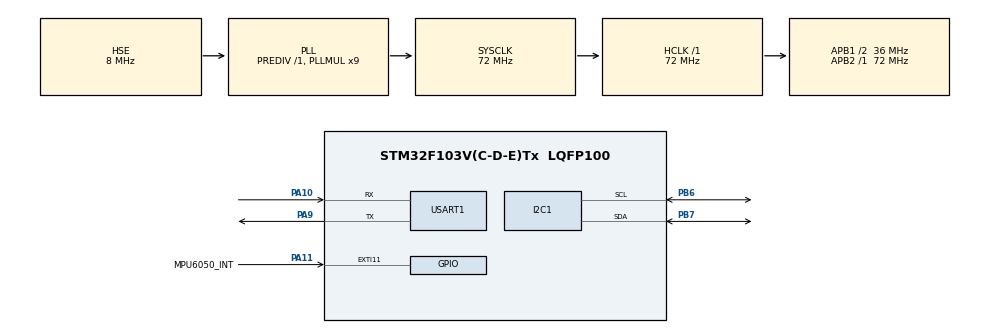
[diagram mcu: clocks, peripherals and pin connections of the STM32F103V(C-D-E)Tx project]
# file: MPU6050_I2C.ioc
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Dma.I2C1_RX.0.Direction=DMA_PERIPH_TO_MEMORY
Dma.I2C1_RX.0.Instance=DMA1_Channel7
Dma.I2C1_RX.0.MemDataAlignment=DMA_MDATAALIGN_BYTE
Dma.I2C1_RX.0.MemInc=DMA_MINC_ENABLE
Dma.I2C1_RX.0.Mode=DMA_NORMAL
Dma.I2C1_RX.0.PeriphDataAlignment=DMA_PDATAALIGN_BYTE
Dma.I2C1_RX.0.PeriphInc=DMA_PINC_DISABLE
Dma.I2C1_RX.0.Priority=DMA_PRIORITY_VERY_HIGH
Dma.I2C1_TX.1.Direction=DMA_MEMORY_TO_PERIPH
Dma.I2C1_TX.1.Instance=DMA1_Channel6
Dma.I2C1_TX.1.MemDataAlignment=DMA_MDATAALIGN_BYTE
Dma.I2C1_TX.1.MemInc=DMA_MINC_ENABLE
Dma.I2C1_TX.1.Mode=DMA_NORMAL
Dma.I2C1_TX.1.PeriphDataAlignment=DMA_PDATAALIGN_BYTE
Dma.I2C1_TX.1.PeriphInc=DMA_PINC_DISABLE
Dma.I2C1_TX.1.Priority=DMA_PRIORITY_VERY_HIGH
Dma.Request0=I2C1_RX
Dma.Request1=I2C1_TX
FREERTOS.Tasks01=defaultTask,24,128,StartDefaultTask,Default,NULL,Dynamic,NULL,NULL
FREERTOS.configUSE_NEWLIB_REENTRANT=1
I2C1.DualAddressMode=I2C_DUALADDRESS_DISABLE
I2C1.GeneralCallMode=I2C_GENERALCALL_DISABLE
I2C1.I2C_Mode=I2C_Fast
I2C1.OwnAddress=0x0A
Mcu.Family=STM32F1
Mcu.Name=STM32F103V(C-D-E)Tx
Mcu.Package=LQFP100
NVIC.DMA1_Channel6_IRQn=true\:5\:0\:false\:false\:true\:true\:false\:true
NVIC.DMA1_Channel7_IRQn=true\:5\:0\:false\:false\:true\:true\:false\:true
NVIC.EXTI15_10_IRQn=true\:5\:0\:false\:false\:true\:true\:true\:true
NVIC.I2C1_ER_IRQn=true\:5\:0\:false\:false\:true\:true\:true\:true
NVIC.I2C1_EV_IRQn=true\:5\:0\:false\:false\:true\:true\:true\:true
NVIC.PriorityGroup=NVIC_PRIORITYGROUP_4
NVIC.TIM7_IRQn=true\:15\:0\:false\:false\:true\:false\:false\:true
NVIC.TimeBase=TIM7_IRQn
NVIC.TimeBaseIP=TIM7
NVIC.USART1_IRQn=true\:5\:0\:false\:false\:true\:true\:true\:true
OSC_IN.Mode=HSE-External-Oscillator
OSC_IN.Signal=RCC_OSC_IN
OSC_OUT.Mode=HSE-External-Oscillator
OSC_OUT.Signal=RCC_OSC_OUT
PA10.Mode=Asynchronous
PA10.Signal=USART1_RX
PA11.GPIO_Label=MPU6050_INT
PA11.GPIO_ModeDefaultEXTI=GPIO_MODE_IT_RISING
PA11.Signal=GPXTI11
PA13.Mode=Serial_Wire
PA13.Signal=SYS_JTMS-SWDIO
PA14.Mode=Serial_Wire
PA14.Signal=SYS_JTCK-SWCLK
PA9.Mode=Asynchronous
PA9.Signal=USART1_TX
PB6.Mode=I2C
PB6.Signal=I2C1_SCL
PB7.Mode=I2C
PB7.Signal=I2C1_SDA
ProjectManager.HeapSize=0x200
ProjectManager.StackSize=0x400
ProjectManager.TargetToolchain=STM32CubeIDE
RCC.AHBFreq_Value=72000000
RCC.APB1CLKDivider=RCC_HCLK_DIV2
RCC.APB1Freq_Value=36000000
RCC.APB1TimFreq_Value=72000000
RCC.APB2Freq_Value=72000000
RCC.APB2TimFreq_Value=72000000
RCC.HCLKFreq_Value=72000000
RCC.PLLMUL=RCC_PLL_MUL9
RCC.PLLSourceVirtual=RCC_PLLSOURCE_HSE
RCC.SYSCLKFreq_VALUE=72000000
RCC.SYSCLKSource=RCC_SYSCLKSOURCE_PLLCLK
RCC.USBFreq_Value=72000000
USART1.VirtualMode=VM_ASYNC
VP_FREERTOS_VS_CMSIS_V2.Mode=CMSIS_V2
VP_SYS_VS_tim7.Mode=TIM7
board=custom

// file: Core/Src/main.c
/* USER CODE BEGIN Header */
/**
 ******************************************************************************
 * @file           : main.c
 * @brief          : Main program body
 ******************************************************************************
 * @attention
 *
 * Copyright (c) 2022 STMicroelectronics.
 * All rights reserved.
 *
 * This software is licensed under terms that can be found in the LICENSE file
 * in the root directory of this software component.
 * If no LICENSE file comes with this software, it is provided AS-IS.
 *
 ******************************************************************************
 */
/* USER CODE END Header */
#include "main.h"
#include "cmsis_os.h"
#include "dma.h"
#include "gpio.h"
#include "i2c.h"
#include "usart.h"

/* USER CODE BEGIN Includes */
//#define PRINT_INSTAND_SWJ
#include "STM32F1_porting.h"
#include "mpu6050_SL.h"

#include "stdio.h"

/* mpu6050 DMP库  begin */
#include "eMPL_outputs.h"
#include "inv_mpu.h"
#include "inv_mpu_dmp_motion_driver.h"
#include "invensense.h"
#include "invensense_adv.h"
#include "log.h"
#include "mltypes.h"
#include "mpu.h"
#include "packet.h"

extern void get_ms_user(unsigned long *count); //定义在inv_mpu.c
#define get_tick_count get_ms_user
/* mpu6050 DMP库  end */

/* USER CODE END Includes */

/* USER CODE BEGIN PD */
/* Data read from MPL. */
#define PRINT_ACCEL (0x01)
#define PRINT_GYRO (0x02)
#define PRINT_QUAT (0x04)
#define PRINT_COMPASS (0x08)
#define PRINT_EULER (0x10)
#define PRINT_ROT_MAT (0x20)
#define PRINT_HEADING (0x40)
#define PRINT_PEDO (0x80)
#define PRINT_LINEAR_ACCEL (0x100)
#define PRINT_GRAVITY_VECTOR (0x200)

volatile uint32_t hal_timestamp = 0;

/* USER CODE END PD */

void SystemClock_Config(void);
void MX_FREERTOS_Init(void);
/* USER CODE BEGIN PFP */
#define BYTE0(dwTemp) (*(char *)(&dwTemp))
#define BYTE1(dwTemp) (*((char *)(&dwTemp) + 1))
#define BYTE2(dwTemp) (*((char *)(&dwTemp) + 2))
#define BYTE3(dwTemp) (*((char *)(&dwTemp) + 3))

/**
 * @brief  控制串口发送1个字符
 * @param  c:要发送的字符
 * @retval none
 */
void usart_send_char(uint8_t c)
{
    HAL_UART_Transmit(&huart1, &c, 1, 0xff);
    // while (USART_GetFlagStatus(DEBUG_USARTx, USART_FLAG_TXE) == RESET)
    //     ; //循环发送,直到发送完毕
    // USART_SendData(DEBUG_USARTx, c);
}

/*函数功能：根据匿名最新上位机协议写的显示姿态的程序（上位机0512版本）
 *具体协议说明请查看上位机软件的帮助说明。
 */
void Data_Send_Status(float Pitch, float Roll, float Yaw)
{

#ifdef PRINT_INSTAND_SWJ
    printf("PIT:%4.1f  ROL:%4.1f  YAW:%4.1f  \n", Pitch, Roll, Yaw);
#else
    unsigned char i = 0;
    unsigned char _cnt = 0, sum = 0;
    unsigned int _temp;
    uint8_t data_to_send[50];
    data_to_send[_cnt++] = 0xAA;
    data_to_send[_cnt++] = 0xAA;
    data_to_send[_cnt++] = 0x01;
    data_to_send[_cnt++] = 0;

    _temp = (int)(Roll * 100);
    data_to_send[_cnt++] = BYTE1(_temp);
    data_to_send[_cnt++] = BYTE0(_temp);
    _temp = 0 - (int)(Pitch * 100);
    data_to_send[_cnt++] = BYTE1(_temp);
    data_to_send[_cnt++] = BYTE0(_temp);
    _temp = (int)(Yaw * 100);
    data_to_send[_cnt++] = BYTE1(_temp);
    data_to_send[_cnt++] = BYTE0(_temp);
    _temp = 0;
    data_to_send[_cnt++] = BYTE3(_temp);
    data_to_send[_cnt++] = BYTE2(_temp);
    data_to_send[_cnt++] = BYTE1(_temp);
    data_to_send[_cnt++] = BYTE0(_temp);

    data_to_send[_cnt++] = 0xA0;

    data_to_send[3] = _cnt - 4;
    //和校验
    for (i = 0; i < _cnt; i++)
        sum += data_to_send[i];
    data_to_send[_cnt++] = sum;

    //串口发送数据
    for (i = 0; i < _cnt; i++)
        usart_send_char(data_to_send[i]);
#endif
}

/*函数功能：根据匿名最新上位机协议写的显示传感器数据（上位机0512版本）
 *具体协议说明请查看上位机软件的帮助说明。
 */
void Send_Data(int16_t *Gyro, int16_t *Accel)
{

#ifdef PRINT_INSTAND_SWJ
    // printf("加速度: X%5d\tY%5d\tZ%5d || 角加速度: X%5d\tY%5d\tZ%5d\n", Accel[0], Accel[1], Accel[2], Gyro[0],
    // Gyro[1], Gyro[2]);
#else
    unsigned char i = 0;
    unsigned char _cnt = 0, sum = 0;
    //	unsigned int _temp;
    uint8_t data_to_send[50];
    data_to_send[_cnt++] = 0xAA;
    data_to_send[_cnt++] = 0xAA;
    data_to_send[_cnt++] = 0x02;
    data_to_send[_cnt++] = 0;

    data_to_send[_cnt++] = BYTE1(Accel[0]);
    data_to_send[_cnt++] = BYTE0(Accel[0]);
    data_to_send[_cnt++] = BYTE1(Accel[1]);
    data_to_send[_cnt++] = BYTE0(Accel[1]);
    data_to_send[_cnt++] = BYTE1(Accel[2]);
    data_to_send[_cnt++] = BYTE0(Accel[2]);

    data_to_send[_cnt++] = BYTE1(Gyro[0]);
    data_to_send[_cnt++] = BYTE0(Gyro[0]);
    data_to_send[_cnt++] = BYTE1(Gyro[1]);
    data_to_send[_cnt++] = BYTE0(Gyro[1]);
    data_to_send[_cnt++] = BYTE1(Gyro[2]);
    data_to_send[_cnt++] = BYTE0(Gyro[2]);
    data_to_send[_cnt++] = 0;
    data_to_send[_cnt++] = 0;
    data_to_send[_cnt++] = 0;
    data_to_send[_cnt++] = 0;
    data_to_send[_cnt++] = 0;
    data_to_send[_cnt++] = 0;

    data_to_send[3] = _cnt - 4;
    //和校验
    for (i = 0; i < _cnt; i++)
        sum += data_to_send[i];
    data_to_send[_cnt++] = sum;

    //串口发送数据
    for (i = 0; i < _cnt; i++)
        usart_send_char(data_to_send[i]);
#endif
}

extern struct inv_sensor_cal_t sensors;

/* Get data from MPL.
 * TODO: Add return values to the inv_get_sensor_type_xxx APIs to differentiate
 * between new and stale data.
 */
static void read_from_mpl(void)
{
    long msg, data[9];
    int8_t accuracy;
    unsigned long timestamp;
    float float_data[3] = {0};

    //    MPU_DEBUG_FUNC();
    if (inv_get_sensor_type_quat(data, &accuracy, (inv_time_t *)&timestamp))
    {
        /* Sends a quaternion packet to the PC. Since this is used by the Python
         * test app to visually represent a 3D quaternion, it's sent each time
         * the MPL has new data.
         */
        eMPL_send_quat(data);

        /* Specific data packets can be sent or suppressed using USB commands. */
        if (hal.report & PRINT_QUAT)
            eMPL_send_data(PACKET_DATA_QUAT, data);
    }

    if (hal.report & PRINT_ACCEL)
    {
        if (inv_get_sensor_type_accel(data, &accuracy, (inv_time_t *)&timestamp))
            eMPL_send_data(PACKET_DATA_ACCEL, data);
    }
    if (hal.report & PRINT_GYRO)
    {
        if (inv_get_sensor_type_gyro(data, &accuracy, (inv_time_t *)&timestamp))
            eMPL_send_data(PACKET_DATA_GYRO, data);
    }
#ifdef COMPASS_ENABLED
    if (hal.report & PRINT_COMPASS)
    {
        if (inv_get_sensor_type_compass(data, &accuracy, (inv_time_t *)&timestamp))
            eMPL_send_data(PACKET_DATA_COMPASS, data);
    }
#endif
    if (hal.report & PRINT_EULER)
    {
        if (inv_get_sensor_type_euler(data, &accuracy, (inv_time_t *)&timestamp))
            eMPL_send_data(PACKET_DATA_EULER, data);
    }
    /*********发送数据到匿名四轴上位机**********/
    if (1)
    {
#ifdef USE_LCD_DISPLAY

        char cStr[70];

#endif

        unsigned long timestamp, step_count, walk_time;

        /*获取欧拉角*/
        if (inv_get_sensor_type_euler(data, &accuracy, (inv_time_t *)&timestamp))
        {
            float Pitch, Roll, Yaw;
            Pitch = data[0] * 1.0 / (1 << 16);
            Roll = data[1] * 1.0 / (1 << 16);
            Yaw = data[2] * 1.0 / (1 << 16);

            /*向匿名上位机发送姿态*/
            Data_Send_Status(Pitch, Roll, Yaw);
            /*向匿名上位机发送原始数据*/
            Send_Data((int16_t *)&sensors.gyro.raw, (int16_t *)&sensors.accel.raw);

#ifdef USE_LCD_DISPLAY

            sprintf(cStr, "Pitch :   %.4f   ", Pitch); // inv_get_sensor_type_euler读出的数据是Q16格式，所以左移16位.
            ILI9341_DispString_EN(30, 90, cStr);

            sprintf(cStr, "Roll :   %.4f   ", Roll); // inv_get_sensor_type_euler读出的数据是Q16格式，所以左移16位.
            ILI9341_DispString_EN(30, 110, cStr);

            sprintf(cStr, "Yaw :   %.4f   ", Yaw); // inv_get_sensor_type_euler读出的数据是Q16格式，所以左移16位.
            ILI9341_DispString_EN(30, 130, cStr);

            /*温度*/
            mpu_get_temperature(data, (inv_time_t *)&timestamp);

            sprintf(cStr, "Temperature :   %.2f   ",
                    data[0] * 1.0 / (1 << 16)); // inv_get_sensor_type_euler读出的数据是Q16格式，所以左移16位.
            ILI9341_DispString_EN(30, 150, cStr);
#endif
        }

        /*获取步数*/
        get_tick_count(&timestamp);
        if (timestamp > hal.next_pedo_ms)
        {

            hal.next_pedo_ms = timestamp + PEDO_READ_MS;
            dmp_get_pedometer_step_count(&step_count);
            dmp_get_pedometer_walk_time(&walk_time);

#ifdef USE_LCD_DISPLAY

            sprintf(cStr, "Walked steps :  %ld  steps over  %ld  milliseconds..", step_count, walk_time);

            ILI9341_DispString_EN(0, 180, cStr);
#endif
        }
    }

    if (hal.report & PRINT_ROT_MAT)
    {
        if (inv_get_sensor_type_rot_mat(data, &accuracy, (inv_time_t *)&timestamp))
            eMPL_send_data(PACKET_DATA_ROT, data);
    }
    if (hal.report & PRINT_HEADING)
    {
        if (inv_get_sensor_type_heading(data, &accuracy, (inv_time_t *)&timestamp))
            eMPL_send_data(PACKET_DATA_HEADING, data);
    }
    if (hal.report & PRINT_LINEAR_ACCEL)
    {
        if (inv_get_sensor_type_linear_acceleration(float_data, &accuracy, (inv_time_t *)&timestamp))
        {
            MPL_LOGI("Linear Accel: %7.5f\t %7.5f\t %7.5f\t\r\n", float_data[0], float_data[1], float_data[2]);
        }
    }
    if (hal.report & PRINT_GRAVITY_VECTOR)
    {
        if (inv_get_sensor_type_gravity(float_data, &accuracy, (inv_time_t *)&timestamp))
            MPL_LOGI("Gravity Vector: %7.5f\t %7.5f\t %7.5f\t\r\n", float_data[0], float_data[1], float_data[2]);
    }
    if (hal.report & PRINT_PEDO)
    {
        unsigned long timestamp;
        get_tick_count(&timestamp);
        if (timestamp > hal.next_pedo_ms)
        {
            hal.next_pedo_ms = timestamp + PEDO_READ_MS;
            unsigned long step_count, walk_time;
            dmp_get_pedometer_step_count(&step_count);
            dmp_get_pedometer_walk_time(&walk_time);
            MPL_LOGI("Walked %ld steps over %ld milliseconds..\n", step_count, walk_time);
        }
    }

    /* Whenever the MPL detects a change in motion state, the application can
     * be notified. For this example, we use an LED to represent the current
     * motion state.
     */
    msg = inv_get_message_level_0(INV_MSG_MOTION_EVENT | INV_MSG_NO_MOTION_EVENT);
    if (msg)
    {
        if (msg & INV_MSG_MOTION_EVENT)
        {
            MPL_LOGI("Motion!\n");
        }
        else if (msg & INV_MSG_NO_MOTION_EVENT)
        {
            MPL_LOGI("No motion!\n");
        }
    }
}
/* USER CODE END PFP */

int main(void)
{

    /* MCU Configuration--------------------------------------------------------*/

    /* Reset of all peripherals, Initializes the Flash interface and the Systick. */
    HAL_Init();

    /* Configure the system clock */
    SystemClock_Config();

    /* Initialize all configured peripherals */
    MX_GPIO_Init();
    MX_USART1_UART_Init();
    MX_DMA_Init();
    MX_I2C1_Init();
    /* USER CODE BEGIN 2 */

    unsigned char new_temp = 0;

    unsigned long timestamp;

    MPU6050_mpu_init();
    MPU6050_mpl_init();
    MPU6050_config();

    while (1)
    {
        unsigned long sensor_timestamp;
        int new_data = 0;

        if (!hal.sensors || !hal.new_gyro)
        {
            continue;
        }

        // if (__HAL_UART_GET_FLAG(&huart1, UART_FLAG_RXNE))
        // // __HAL_UART_GET_FLAG(&huart1, UART_FLAG_RXNE)
        // {
        //     /* A byte has been received via USART. See handle_input for a list of
        //      * valid commands.
        //      */

        //     // USART_ClearFlag(DEBUG_USARTx, USART_FLAG_RXNE);
        //     __HAL_UART_CLEAR_FLAG(&huart1, UART_FLAG_RXNE);

        //     // handle_input();
        // }

#ifdef PRINT_INSTAND_SWJ
        HAL_Delay(500);
#endif

        get_tick_count(&timestamp);
        if (timestamp > hal.next_temp_ms)
        {
            hal.next_temp_ms = timestamp + TEMP_READ_MS;
            new_temp = 1;
        }

        if (hal.motion_int_mode)
        {
            /* Enable motion interrupt. */
            mpu_lp_motion_interrupt(500, 1, 5);
            /* Notify the MPL that contiguity was broken. */
            inv_accel_was_turned_off();
            inv_gyro_was_turned_off();
            inv_compass_was_turned_off();
            inv_quaternion_sensor_was_turned_off();
            /* Wait for the MPU interrupt. */
            while (!hal.new_gyro)
            {
            }
            /* Restore the previous sensor configuration. */
            mpu_lp_motion_interrupt(0, 0, 0);
            hal.motion_int_mode = 0;
        }

        if (hal.new_gyro && hal.dmp_on)
        {
            short gyro[3], accel_short[3], sensors;
            unsigned char more;
            long accel[3], quat[4], temperature;
            /* This function gets new data from the FIFO when the DMP is in
             * use. The FIFO can contain any combination of gyro, accel,
             * quaternion, and gesture data. The sensors parameter tells the
             * caller which data fields were actually populated with new data.
             * For example, if sensors == (INV_XYZ_GYRO | INV_WXYZ_QUAT), then
             * the FIFO isn't being filled with accel data.
             * The driver parses the gesture data to determine if a gesture
             * event has occurred; on an event, the application will be notified
             * via a callback (assuming that a callback function was properly
             * registered). The more parameter is non-zero if there are
             * leftover packets in the FIFO.
             */
            dmp_read_fifo(gyro, accel_short, quat, &sensor_timestamp, &sensors, &more);
            if (!more)
                hal.new_gyro = 0;

            if (sensors & INV_WXYZ_QUAT)
            {

                inv_build_quat(quat, 0, sensor_timestamp);
                new_data = 1;
            }

            if (sensors & INV_XYZ_GYRO)
            {
                /* Push the new data to the MPL. */
                inv_build_gyro(gyro, sensor_timestamp);
                new_data = 1;
                if (new_temp)
                {
                    new_temp = 0;
                    /* Temperature only used for gyro temp comp. */
                    mpu_get_temperature(&temperature, &sensor_timestamp);
                    inv_build_temp(temperature, sensor_timestamp);
                }
            }
            if (sensors & INV_XYZ_ACCEL)
            {
                accel[0] = (long)accel_short[0];
                accel[1] = (long)accel_short[1];
                accel[2] = (long)accel_short[2];
                inv_build_accel(accel, 0, sensor_timestamp);
                new_data = 1;
            }
        }

#if 0
        if (new_data)
        {
            long data[9];
            int8_t accuracy;
            if (inv_execute_on_data())
            {
                printf("ERROR execute on data\n");
            }
            /* This function reads bias-compensated sensor data and sensor
             * fusion outputs from the MPL. The outputs are formatted as seen
             * in eMPL_outputs.c. This function only needs to be called at the
             * rate requested by the host.
             */

            float float_data[3];
            printf("\r\n\r\n以下是eMPL_outputs.c中的函数获取的数据\r\n");
            if (inv_get_sensor_type_euler(data, &accuracy, (inv_time_t *)&timestamp))
            {
                float_data[0] = data[0] * 1.0 / (1 << 16);
                float_data[1] = data[1] * 1.0 / (1 << 16);
                float_data[2] = data[2] * 1.0 / (1 << 16);
                printf("欧拉角(rad)\t\t: %7.5f\t %7.5f\t %7.5f\t\r\n", float_data[0], float_data[1], float_data[2]);
            }
            if (inv_get_sensor_type_accel(data, &accuracy, (inv_time_t *)&timestamp))
            {
                float_data[0] = data[0] * 1.0 / (1 << 16);
                float_data[1] = data[1] * 1.0 / (1 << 16);
                float_data[2] = data[2] * 1.0 / (1 << 16);
                printf("加速度(g/s2)\t\t: %7.5f\t %7.5f\t %7.5f\t\r\n", float_data[0], float_data[1], float_data[2]);
            }

            if (inv_get_sensor_type_gyro(data, &accuracy, (inv_time_t *)&timestamp))
            {
                float_data[0] = data[0] * 1.0 / (1 << 16);
                float_data[1] = data[1] * 1.0 / (1 << 16);
                float_data[2] = data[2] * 1.0 / (1 << 16);
                printf("角速度(rad/s)\t\t: %7.5f\t %7.5f\t %7.5f\t\r\n", float_data[0], float_data[1], float_data[2]);
            }
            printf("\r\n\r\n以下是hal_outputs.c中的函数获取的数据\r\n");
            // if (inv_get_sensor_type_orientation(float_data, &accuracy, (inv_time_t *)&timestamp))
            // {
            //     printf("方位角(rad/s)\t\t: %7.5f\t %7.5f\t %7.5f\t\r\n", float_data[0], float_data[1], float_data[2]);
            // }
            // MPU9xxxxx有方位角，MPU6xxx没有磁场三轴，自然也分不清方向，所赐这里输出的数据
            inv_get_sensor_type_orientation(float_data, &accuracy, (inv_time_t *)&timestamp);
            printf("伪方位角(rad/s)\t: %7.5f\t %7.5f\t %7.5f\t 没有指南针，和欧拉角没什么区别\r\n", float_data[0],
                   float_data[1], float_data[2]);

            if (inv_get_sensor_type_accelerometer(float_data, &accuracy, (inv_time_t *)&timestamp))
            {
                printf("加速度(m/s2)\t\t: %7.5f\t %7.5f\t %7.5f\t\r\n", float_data[0], float_data[1], float_data[2]);
            }
            if (inv_get_sensor_type_linear_acceleration(float_data, &accuracy, (inv_time_t *)&timestamp))
            {
                printf("线性加速度(m/s2)\t: %7.5f\t %7.5f\t %7.5f\t\r\n", float_data[0], float_data[1], float_data[2]);
            }
            if (inv_get_sensor_type_gyroscope(float_data, &accuracy, (inv_time_t *)&timestamp))
            {
                printf("校准后角速度(rad/s)\t: %7.5f\t %7.5f\t %7.5f\t\r\n", float_data[0], float_data[1], float_data[2]);
            }
            HAL_Delay(100);
        }

#else
        if (new_data)
        {
            inv_execute_on_data();

            /* This function reads bias-compensated sensor data and sensor
             * fusion outputs from the MPL. The outputs are formatted as seen
             * in eMPL_outputs.c. This function only needs to be called at the
             * rate requested by the host.
             */
            read_from_mpl();
        }
#endif
    }

    /* USER CODE END 2 */

    /* Init scheduler */
    osKernelInitialize(); /* Call init function for freertos objects (in freertos.c) */
    MX_FREERTOS_Init();
    /* Start scheduler */
    osKernelStart();

    /* We should never get here as control is now taken by the scheduler */
    /* Infinite loop */
    while (1)
    {

    }
}
void SystemClock_Config(void)
{
    RCC_OscInitTypeDef RCC_OscInitStruct = {0};
    RCC_ClkInitTypeDef RCC_ClkInitStruct = {0};

    /** Initializes the RCC Oscillators according to the specified parameters
     * in the RCC_OscInitTypeDef structure.
     */
    RCC_OscInitStruct.OscillatorType = RCC_OSCILLATORTYPE_HSE;
    RCC_OscInitStruct.HSEState = RCC_HSE_ON;
    RCC_OscInitStruct.HSEPredivValue = RCC_HSE_PREDIV_DIV1;
    RCC_OscInitStruct.HSIState = RCC_HSI_ON;
    RCC_OscInitStruct.PLL.PLLState = RCC_PLL_ON;
    RCC_OscInitStruct.PLL.PLLSource = RCC_PLLSOURCE_HSE;
    RCC_OscInitStruct.PLL.PLLMUL = RCC_PLL_MUL9;
    if (HAL_RCC_OscConfig(&RCC_OscInitStruct) != HAL_OK)
    {
        Error_Handler();
    }
    /** Initializes the CPU, AHB and APB buses clocks
     */
    RCC_ClkInitStruct.ClockType = RCC_CLOCKTYPE_HCLK | RCC_CLOCKTYPE_SYSCLK | RCC_CLOCKTYPE_PCLK1 | RCC_CLOCKTYPE_PCLK2;
    RCC_ClkInitStruct.SYSCLKSource = RCC_SYSCLKSOURCE_PLLCLK;
    RCC_ClkInitStruct.AHBCLKDivider = RCC_SYSCLK_DIV1;
    RCC_ClkInitStruct.APB1CLKDivider = RCC_HCLK_DIV2;
    RCC_ClkInitStruct.APB2CLKDivider = RCC_HCLK_DIV1;

    if (HAL_RCC_ClockConfig(&RCC_ClkInitStruct, FLASH_LATENCY_2) != HAL_OK)
    {
        Error_Handler();
    }
}

void HAL_TIM_PeriodElapsedCallback(TIM_HandleTypeDef *htim)
{
    if (htim->Instance == TIM7)
    {
        HAL_IncTick();
    }
}

void Error_Handler(void)
{
    __disable_irq();
    while (1)
    {
    }
}

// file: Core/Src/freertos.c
/* USER CODE BEGIN Header */
/**
  ******************************************************************************
  * File Name          : freertos.c
  * Description        : Code for freertos applications
  ******************************************************************************
  * @attention
  *
  * Copyright (c) 2022 STMicroelectronics.
  * All rights reserved.
  *
  * This software is licensed under terms that can be found in the LICENSE file
  * in the root directory of this software component.
  * If no LICENSE file comes with this software, it is provided AS-IS.
  *
  ******************************************************************************
  */
/* USER CODE END Header */

#include "FreeRTOS.h"
#include "task.h"
#include "main.h"
#include "cmsis_os.h"

/* Definitions for defaultTask */
osThreadId_t defaultTaskHandle;
const osThreadAttr_t defaultTask_attributes = {
  .name = "defaultTask",
  .stack_size = 128 * 4,
  .priority = (osPriority_t) osPriorityNormal,
};

void StartDefaultTask(void *argument);

void MX_FREERTOS_Init(void); /* (MISRA C 2004 rule 8.1) */

void MX_FREERTOS_Init(void) {

  /* Create the thread(s) */
  /* creation of defaultTask */
  defaultTaskHandle = osThreadNew(StartDefaultTask, NULL, &defaultTask_attributes);

}

void StartDefaultTask(void *argument)
{
  for(;;)
  {
    osDelay(1);
  }
}
